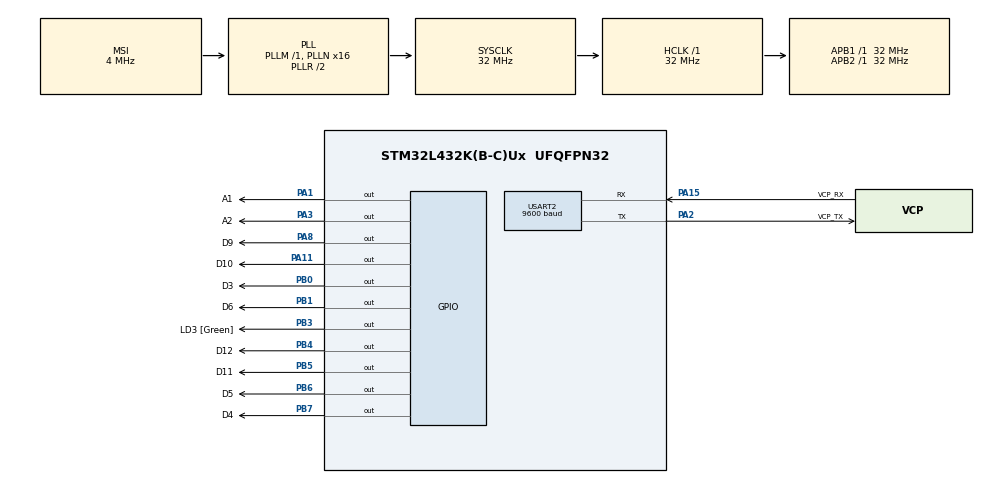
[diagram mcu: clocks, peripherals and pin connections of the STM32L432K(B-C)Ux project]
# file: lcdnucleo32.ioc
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Mcu.Family=STM32L4
Mcu.Name=STM32L432K(B-C)Ux
Mcu.Package=UFQFPN32
NVIC.PriorityGroup=NVIC_PRIORITYGROUP_4
NVIC.USART2_IRQn=true\:0\:0\:false\:false\:true\:true\:true
PA0.GPIO_Label=MCO [High speed clock in]
PA0.Mode=HSE-External-Clock-Source-for-LittleOrca
PA0.Signal=RCC_CK_IN
PA1.GPIO_Label=A1
PA1.GPIO_PuPd=GPIO_PULLUP
PA1.PinState=GPIO_PIN_RESET
PA1.Signal=GPIO_Output
PA11.GPIO_Label=D10
PA11.GPIO_PuPd=GPIO_PULLUP
PA11.GPIO_Speed=GPIO_SPEED_FREQ_MEDIUM
PA11.PinState=GPIO_PIN_RESET
PA11.Signal=GPIO_Output
PA13\ (JTMS-SWDIO).GPIO_Label=SWDIO
PA13\ (JTMS-SWDIO).Mode=Serial_Wire
PA13\ (JTMS-SWDIO).Signal=SYS_JTMS-SWDIO
PA14\ (JTCK-SWCLK).GPIO_Label=SWCLK
PA14\ (JTCK-SWCLK).Mode=Serial_Wire
PA14\ (JTCK-SWCLK).Signal=SYS_JTCK-SWCLK
PA15\ (JTDI).GPIO_Label=VCP_RX
PA15\ (JTDI).Mode=Asynchronous
PA15\ (JTDI).Signal=USART2_RX
PA2.GPIO_Label=VCP_TX
PA2.Mode=Asynchronous
PA2.Signal=USART2_TX
PA3.GPIO_Label=A2
PA3.GPIO_PuPd=GPIO_PULLUP
PA3.Signal=GPIO_Output
PA8.GPIO_Label=D9
PA8.GPIO_Speed=GPIO_SPEED_FREQ_MEDIUM
PA8.Signal=GPIO_Output
PB0.GPIO_Label=D3
PB0.GPIO_Speed=GPIO_SPEED_FREQ_MEDIUM
PB0.Signal=GPIO_Output
PB1.GPIO_Label=D6
PB1.GPIO_Speed=GPIO_SPEED_FREQ_MEDIUM
PB1.Signal=GPIO_Output
PB3\ (JTDO-TRACESWO).GPIO_Label=LD3 [Green]
PB3\ (JTDO-TRACESWO).GPIO_Speed=GPIO_SPEED_FREQ_MEDIUM
PB3\ (JTDO-TRACESWO).Signal=GPIO_Output
PB4\ (NJTRST).GPIO_Label=D12
PB4\ (NJTRST).GPIO_Speed=GPIO_SPEED_FREQ_MEDIUM
PB4\ (NJTRST).Signal=GPIO_Output
PB5.GPIO_Label=D11
PB5.GPIO_Speed=GPIO_SPEED_FREQ_MEDIUM
PB5.Signal=GPIO_Output
PB6.GPIO_Label=D5
PB6.GPIO_Speed=GPIO_SPEED_FREQ_MEDIUM
PB6.Signal=GPIO_Output
PB7.GPIO_Label=D4
PB7.GPIO_Speed=GPIO_SPEED_FREQ_MEDIUM
PB7.Signal=GPIO_Output
PC14-OSC32_IN\ (PC14).Mode=LSE-External-Oscillator
PC14-OSC32_IN\ (PC14).Signal=RCC_OSC32_IN
PC15-OSC32_OUT\ (PC15).Mode=LSE-External-Oscillator
PC15-OSC32_OUT\ (PC15).Signal=RCC_OSC32_OUT
ProjectManager.HeapSize=0x200
ProjectManager.StackSize=0x400
ProjectManager.TargetToolchain=STM32CubeIDE
RCC.AHBFreq_Value=32000000
RCC.APB1Freq_Value=32000000
RCC.APB1TimFreq_Value=32000000
RCC.APB2Freq_Value=32000000
RCC.APB2TimFreq_Value=32000000
RCC.CortexFreq_Value=32000000
RCC.HCLKFreq_Value=32000000
RCC.HSE_VALUE=8000000
RCC.HSI16_VALUE=16000000
RCC.HSI48_VALUE=48000000
RCC.HSI_VALUE=16000000
RCC.MSI_VALUE=4000000
RCC.PLLMUL=RCC_PLLMUL_4
RCC.PLLN=16
RCC.SYSCLKFreq_VALUE=32000000
RCC.SYSCLKSource=RCC_SYSCLKSOURCE_PLLCLK
RCC.VCOOutputFreq_Value=64000000
USART2.BaudRate=9600
USART2.VirtualMode-Asynchronous=VM_ASYNC
board=NUCLEO-L432KC

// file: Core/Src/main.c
/* USER CODE BEGIN Header */
/**
  ******************************************************************************
  * @file           : main.c
  * @brief          : Main program body
  ******************************************************************************
  * @attention
  *
  * <h2><center>&copy; Copyright (c) 2021 STMicroelectronics.
  * All rights reserved.</center></h2>
  *
  * This software component is licensed by ST under BSD 3-Clause license,
  * the "License"; You may not use this file except in compliance with the
  * License. You may obtain a copy of the License at:
  *                        opensource.org/licenses/BSD-3-Clause
  *
  ******************************************************************************
  */
/* USER CODE END Header */
#include "main.h"

/* USER CODE BEGIN Includes */
#include "lcd16x2.h"
/* USER CODE END Includes */

/* USER CODE BEGIN PD */
#define nChars 16
#define asciiOne 49
/* USER CODE END PD */

UART_HandleTypeDef huart2;

/* USER CODE BEGIN PV */

uint8_t topLine[nChars] = {0};
uint8_t bottomLine[nChars] = {0};
uint8_t UART2_rxBuffer[nChars + 1] = {0};
static int lcdState;

/* USER CODE END PV */

void SystemClock_Config(void);
static void MX_GPIO_Init(void);
static void MX_USART2_UART_Init(void);

/* USER CODE BEGIN 0 */
void changeDisplayBacklightColor(int col) {
	/* 0 = off
	 * D10 = Blue = 1
	 * A1 = Red = 2
	   A2=  Green = 3*/
	HAL_GPIO_WritePin(GPIOA, D10_Pin, GPIO_PIN_SET);
	HAL_GPIO_WritePin(GPIOA, A1_Pin, GPIO_PIN_SET);
	HAL_GPIO_WritePin(GPIOA, A2_Pin, GPIO_PIN_SET);
	lcdState = col;
	switch (col) {
	case 0:
		break;
	case 1:
		HAL_GPIO_WritePin(GPIOA, D10_Pin, GPIO_PIN_RESET);
		break;
	case 2:
		HAL_GPIO_WritePin(GPIOA, A1_Pin, GPIO_PIN_RESET);
		break;
	case 3:
		HAL_GPIO_WritePin(GPIOA, A2_Pin, GPIO_PIN_RESET);
		break;

	}
}
void newColor(){
	lcdState += 1;
	lcdState %= 4;
	changeDisplayBacklightColor(lcdState);
}

/* USER CODE END 0 */

int main(void)
{

  /* MCU Configuration--------------------------------------------------------*/

  /* Reset of all peripherals, Initializes the Flash interface and the Systick. */
  HAL_Init();

  /* Configure the system clock */
  SystemClock_Config();

  /* Initialize all configured peripherals */
  MX_GPIO_Init();
  MX_USART2_UART_Init();
  /* USER CODE BEGIN 2 */
  lcd16x2_init_4bits(D4_GPIO_Port, D4_Pin, D5_Pin, D3_GPIO_Port, D3_Pin, D6_Pin, D11_Pin, D12_Pin);
	changeDisplayBacklightColor(0);

  HAL_UART_Receive_IT (&huart2, UART2_rxBuffer, nChars + 1);
  /* USER CODE END 2 */

  /* Infinite loop */
  while (1)
  {

  }
}

void SystemClock_Config(void)
{
  RCC_OscInitTypeDef RCC_OscInitStruct = {0};
  RCC_ClkInitTypeDef RCC_ClkInitStruct = {0};

  /** Configure the main internal regulator output voltage
  */
  if (HAL_PWREx_ControlVoltageScaling(PWR_REGULATOR_VOLTAGE_SCALE1) != HAL_OK)
  {
    Error_Handler();
  }
  /** Configure LSE Drive Capability
  */
  HAL_PWR_EnableBkUpAccess();
  __HAL_RCC_LSEDRIVE_CONFIG(RCC_LSEDRIVE_LOW);
  /** Initializes the RCC Oscillators according to the specified parameters
  * in the RCC_OscInitTypeDef structure.
  */
  RCC_OscInitStruct.OscillatorType = RCC_OSCILLATORTYPE_LSE|RCC_OSCILLATORTYPE_MSI;
  RCC_OscInitStruct.LSEState = RCC_LSE_ON;
  RCC_OscInitStruct.MSIState = RCC_MSI_ON;
  RCC_OscInitStruct.MSICalibrationValue = 0;
  RCC_OscInitStruct.MSIClockRange = RCC_MSIRANGE_6;
  RCC_OscInitStruct.PLL.PLLState = RCC_PLL_ON;
  RCC_OscInitStruct.PLL.PLLSource = RCC_PLLSOURCE_MSI;
  RCC_OscInitStruct.PLL.PLLM = 1;
  RCC_OscInitStruct.PLL.PLLN = 16;
  RCC_OscInitStruct.PLL.PLLP = RCC_PLLP_DIV7;
  RCC_OscInitStruct.PLL.PLLQ = RCC_PLLQ_DIV2;
  RCC_OscInitStruct.PLL.PLLR = RCC_PLLR_DIV2;
  if (HAL_RCC_OscConfig(&RCC_OscInitStruct) != HAL_OK)
  {
    Error_Handler();
  }
  /** Initializes the CPU, AHB and APB buses clocks
  */
  RCC_ClkInitStruct.ClockType = RCC_CLOCKTYPE_HCLK|RCC_CLOCKTYPE_SYSCLK
                              |RCC_CLOCKTYPE_PCLK1|RCC_CLOCKTYPE_PCLK2;
  RCC_ClkInitStruct.SYSCLKSource = RCC_SYSCLKSOURCE_PLLCLK;
  RCC_ClkInitStruct.AHBCLKDivider = RCC_SYSCLK_DIV1;
  RCC_ClkInitStruct.APB1CLKDivider = RCC_HCLK_DIV1;
  RCC_ClkInitStruct.APB2CLKDivider = RCC_HCLK_DIV1;

  if (HAL_RCC_ClockConfig(&RCC_ClkInitStruct, FLASH_LATENCY_1) != HAL_OK)
  {
    Error_Handler();
  }
  /** Enable MSI Auto calibration
  */
  HAL_RCCEx_EnableMSIPLLMode();
}

static void MX_USART2_UART_Init(void)
{

  huart2.Instance = USART2;
  huart2.Init.BaudRate = 9600;
  huart2.Init.WordLength = UART_WORDLENGTH_8B;
  huart2.Init.StopBits = UART_STOPBITS_1;
  huart2.Init.Parity = UART_PARITY_NONE;
  huart2.Init.Mode = UART_MODE_TX_RX;
  huart2.Init.HwFlowCtl = UART_HWCONTROL_NONE;
  huart2.Init.OverSampling = UART_OVERSAMPLING_16;
  huart2.Init.OneBitSampling = UART_ONE_BIT_SAMPLE_DISABLE;
  huart2.AdvancedInit.AdvFeatureInit = UART_ADVFEATURE_NO_INIT;
  if (HAL_UART_Init(&huart2) != HAL_OK)
  {
    Error_Handler();
  }

}

static void MX_GPIO_Init(void)
{
  GPIO_InitTypeDef GPIO_InitStruct = {0};

  /* GPIO Ports Clock Enable */
  __HAL_RCC_GPIOC_CLK_ENABLE();
  __HAL_RCC_GPIOA_CLK_ENABLE();
  __HAL_RCC_GPIOB_CLK_ENABLE();

  /*Configure GPIO pin Output Level */
  HAL_GPIO_WritePin(GPIOA, A1_Pin|A2_Pin|D9_Pin|D10_Pin, GPIO_PIN_RESET);

  /*Configure GPIO pin Output Level */
  HAL_GPIO_WritePin(GPIOB, D3_Pin|D6_Pin|LD3_Pin|D12_Pin
                          |D11_Pin|D5_Pin|D4_Pin, GPIO_PIN_RESET);

  /*Configure GPIO pins : A1_Pin A2_Pin */
  GPIO_InitStruct.Pin = A1_Pin|A2_Pin;
  GPIO_InitStruct.Mode = GPIO_MODE_OUTPUT_PP;
  GPIO_InitStruct.Pull = GPIO_PULLUP;
  GPIO_InitStruct.Speed = GPIO_SPEED_FREQ_LOW;
  HAL_GPIO_Init(GPIOA, &GPIO_InitStruct);

  /*Configure GPIO pins : D3_Pin D6_Pin LD3_Pin D12_Pin
                           D11_Pin D5_Pin D4_Pin */
  GPIO_InitStruct.Pin = D3_Pin|D6_Pin|LD3_Pin|D12_Pin
                          |D11_Pin|D5_Pin|D4_Pin;
  GPIO_InitStruct.Mode = GPIO_MODE_OUTPUT_PP;
  GPIO_InitStruct.Pull = GPIO_NOPULL;
  GPIO_InitStruct.Speed = GPIO_SPEED_FREQ_MEDIUM;
  HAL_GPIO_Init(GPIOB, &GPIO_InitStruct);

  /*Configure GPIO pin : D9_Pin */
  GPIO_InitStruct.Pin = D9_Pin;
  GPIO_InitStruct.Mode = GPIO_MODE_OUTPUT_PP;
  GPIO_InitStruct.Pull = GPIO_NOPULL;
  GPIO_InitStruct.Speed = GPIO_SPEED_FREQ_MEDIUM;
  HAL_GPIO_Init(D9_GPIO_Port, &GPIO_InitStruct);

  /*Configure GPIO pin : D10_Pin */
  GPIO_InitStruct.Pin = D10_Pin;
  GPIO_InitStruct.Mode = GPIO_MODE_OUTPUT_PP;
  GPIO_InitStruct.Pull = GPIO_PULLUP;
  GPIO_InitStruct.Speed = GPIO_SPEED_FREQ_MEDIUM;
  HAL_GPIO_Init(D10_GPIO_Port, &GPIO_InitStruct);

}

/* USER CODE BEGIN 4 */
uint8_t * selectedLine;
uint8_t nLine;
void HAL_UART_RxCpltCallback(UART_HandleTypeDef *huart)
{
	switch ((char) UART2_rxBuffer[0]) {
	case 'b':
		changeDisplayBacklightColor(1);
		break;
	case 'r':
		changeDisplayBacklightColor(2);
		break;
	case 'g':
		changeDisplayBacklightColor(3);
		break;
	case 'c':
		changeDisplayBacklightColor(0);
		break;
	case 'n':
		newColor();
		break;
	default:
		lcd16x2_twoLines();
		lcd16x2_setCursor(0, 0);
		if (UART2_rxBuffer[0] == asciiOne) {
			lcd16x2_setCursor(1, 0);
		}
		lcd16x2_printf(&UART2_rxBuffer[1]);
	}
    HAL_UART_Receive_IT (&huart2, UART2_rxBuffer, nChars + 1);

}
/* USER CODE END 4 */

void Error_Handler(void)
{
  __disable_irq();
  while (1)
  {
  }
}

/************************ (C) COPYRIGHT STMicroelectronics *****END OF FILE****/
